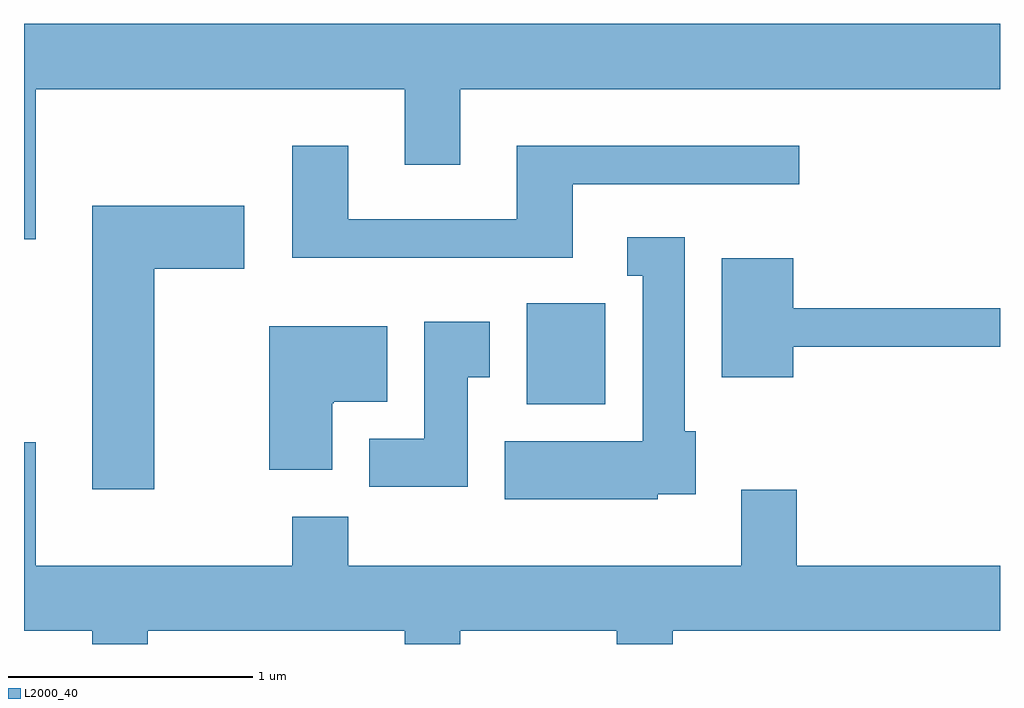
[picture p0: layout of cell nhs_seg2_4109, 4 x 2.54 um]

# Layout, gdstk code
import gdstk
lib = gdstk.Library(unit=1e-6, precision=1e-09)
def R(c, l, rs):  # rectangles x0, y0, x1, y1
    for r in rs: c.add(gdstk.rectangle(r[:2], r[2:], *l))
def P(c, l, *ps):  # polygons
    for p in ps: c.add(gdstk.Polygon(p, *l))
L2000_40 = (2000, 40)

nhs_seg2_4109 = lib.new_cell('nhs_seg2_4109')
R(nhs_seg2_4109, L2000_40, [(307.671,1064.786,307.994,1065.199)])
P(nhs_seg2_4109, L2000_40, [(305.659,1066.076),(307.171,1066.076),(307.171,1065.766),(307.399,1065.766),(307.399,1066.076),(309.611,1066.076),(309.611,1066.344),(305.611,1066.344),(305.611,1065.461),(305.659,1065.461)],
  [(307.859,1065.686),(308.788,1065.686),(308.788,1065.844),(307.631,1065.844),(307.631,1065.544),(306.939,1065.544),(306.939,1065.844),(306.711,1065.844),(306.711,1065.386),(307.859,1065.386)],
  [(306.144,1065.341),(306.514,1065.341),(306.514,1065.599),(305.891,1065.599),(305.891,1064.436),(306.144,1064.436)],
  [(308.209,1064.416),(308.364,1064.416),(308.364,1064.674),(308.319,1064.674),(308.319,1065.469),(308.083,1065.469),(308.083,1065.311),(308.146,1065.311),(308.146,1064.634),(307.581,1064.634),(307.581,1064.396),(308.209,1064.396)],
  [(308.764,1065.021),(309.611,1065.021),(309.611,1065.179),(308.764,1065.179),(308.764,1065.384),(308.471,1065.384),(308.471,1064.896),(308.764,1064.896)],
  [(307.429,1064.896),(307.519,1064.896),(307.519,1065.124),(307.251,1065.124),(307.251,1064.644),(307.026,1064.644),(307.026,1064.446),(307.429,1064.446)],
  [(306.874,1064.79),(306.88,1064.79),(306.88,1064.796),(307.099,1064.796),(307.099,1065.104),(306.616,1065.104),(306.616,1064.516),(306.874,1064.516)],
  [(306.119,1063.856),(307.171,1063.856),(307.171,1063.802),(307.399,1063.802),(307.399,1063.856),(308.041,1063.856),(308.041,1063.802),(308.269,1063.802),(308.269,1063.856),(309.611,1063.856),(309.611,1064.124),(308.779,1064.124),(308.779,1064.434),(308.551,1064.434),(308.551,1064.124),(306.939,1064.124),(306.939,1064.324),(306.711,1064.324),(306.711,1064.124),(305.659,1064.124),(305.659,1064.629),(305.611,1064.629),(305.611,1063.856),(305.891,1063.856),(305.891,1063.802),(306.119,1063.802)])

lib.write_gds('nhs_seg2_4109.gds')
